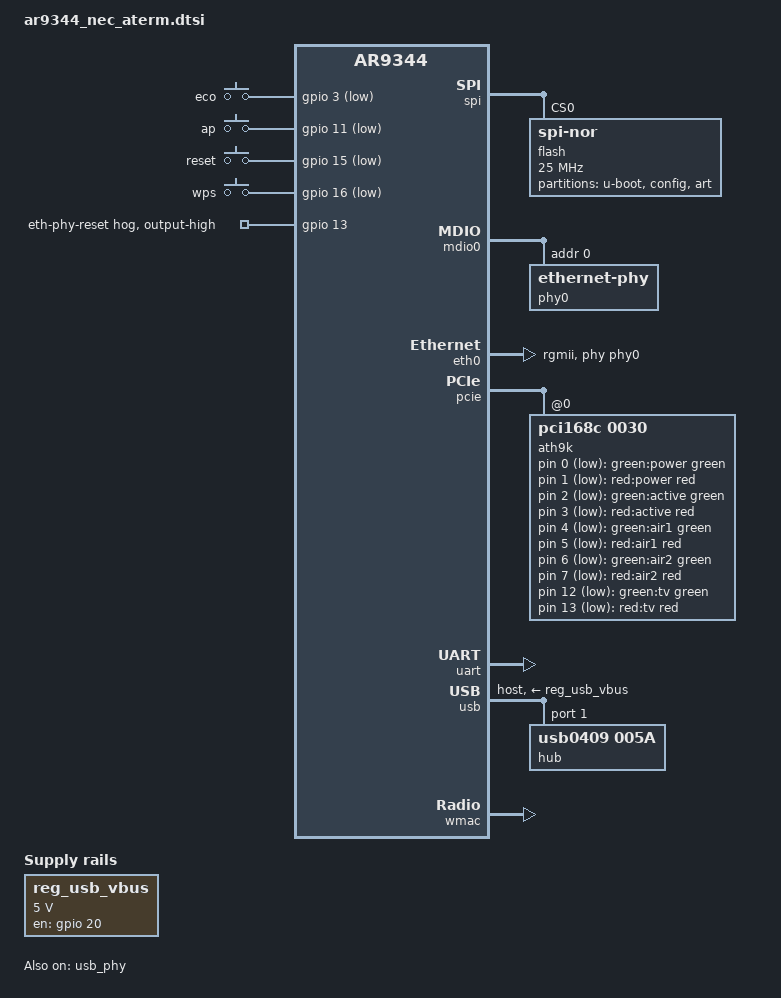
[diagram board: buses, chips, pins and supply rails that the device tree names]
// SPDX-License-Identifier: GPL-2.0-or-later OR MIT

#include <dt-bindings/gpio/gpio.h>
#include <dt-bindings/input/input.h>
#include <dt-bindings/leds/common.h>

#include "ar9344.dtsi"

/ {
	chosen {
		bootargs = "console=ttyS0,9600";
	};

	aliases {
		led-boot = &led_power_green;
		led-failsafe = &led_power_red;
		led-running = &led_power_green;
		led-upgrade = &led_power_green;
	};

	keys: keys {
		compatible = "gpio-keys";
		pinctrl-names = "default";
		pinctrl-0 = <&jtag_disable_pins>;

		eco {
			label = "eco";
			gpios = <&gpio 3 GPIO_ACTIVE_LOW>;
			linux,code = <BTN_0>;
			debounce-interval = <60>;
		};

		ap {
			label = "ap";
			gpios = <&gpio 11 GPIO_ACTIVE_LOW>;
			linux,code = <BTN_1>;
			linux,input-type = <EV_SW>;
			debounce-interval = <60>;
		};

		reset {
			label = "reset";
			gpios = <&gpio 15 GPIO_ACTIVE_LOW>;
			linux,code = <KEY_RESTART>;
			debounce-interval = <60>;
		};

		wps {
			label = "wps";
			gpios = <&gpio 16 GPIO_ACTIVE_LOW>;
			linux,code = <KEY_WPS_BUTTON>;
			debounce-interval = <60>;
		};
	};

	ath9k_leds: ath9k-leds {
		/* all LEDs are connected to ath9k chip (AR9382) */
		compatible = "gpio-leds";

		led_power_green: led-0 {
			label = "green:power";
			gpios = <&ath9k 0 GPIO_ACTIVE_LOW>;
			color = <LED_COLOR_ID_GREEN>;
			function = LED_FUNCTION_POWER;
			default-state = "on";
		};

		led_power_red: led-1 {
			label = "red:power";
			gpios = <&ath9k 1 GPIO_ACTIVE_LOW>;
			color = <LED_COLOR_ID_RED>;
			function = LED_FUNCTION_POWER;
		};

		led-2 {
			label = "green:active";
			gpios = <&ath9k 2 GPIO_ACTIVE_LOW>;
			color = <LED_COLOR_ID_GREEN>;
			function = LED_FUNCTION_ACTIVITY;
		};

		led-3 {
			label = "red:active";
			gpios = <&ath9k 3 GPIO_ACTIVE_LOW>;
			color = <LED_COLOR_ID_RED>;
			function = LED_FUNCTION_ACTIVITY;
		};

		led-4 {
			label = "green:air1";
			gpios = <&ath9k 4 GPIO_ACTIVE_LOW>;
			color = <LED_COLOR_ID_GREEN>;
			function = LED_FUNCTION_WLAN;
			function-enumerator = <1>;
			linux,default-trigger = "phy0tpt";
		};

		led-5 {
			label = "red:air1";
			gpios = <&ath9k 5 GPIO_ACTIVE_LOW>;
			color = <LED_COLOR_ID_RED>;
			function = LED_FUNCTION_WLAN;
			function-enumerator = <1>;
		};

		led-6 {
			label = "green:air2";
			gpios = <&ath9k 6 GPIO_ACTIVE_LOW>;
			color = <LED_COLOR_ID_GREEN>;
			function = LED_FUNCTION_WLAN;
			function-enumerator = <2>;
			linux,default-trigger = "phy1tpt";
		};

		led-7 {
			label = "red:air2";
			gpios = <&ath9k 7 GPIO_ACTIVE_LOW>;
			color = <LED_COLOR_ID_RED>;
			function = LED_FUNCTION_WLAN;
			function-enumerator = <2>;
		};

		led-8 {
			label = "green:tv";
			gpios = <&ath9k 12 GPIO_ACTIVE_LOW>;
			color = <LED_COLOR_ID_GREEN>;
			function = LED_FUNCTION_INDICATOR;
		};

		led-9 {
			label = "red:tv";
			gpios = <&ath9k 13 GPIO_ACTIVE_LOW>;
			color = <LED_COLOR_ID_RED>;
			function = LED_FUNCTION_INDICATOR;
		};
	};

	reg_usb_vbus: regulator {
		compatible = "regulator-fixed";

		regulator-name = "usb-vbus";
		regulator-min-microvolt = <5000000>;
		regulator-max-microvolt = <5000000>;

		gpio = <&gpio 20 GPIO_ACTIVE_HIGH>;
		enable-active-high;

		regulator-always-on;
	};
};

&ref {
	clock-frequency = <40000000>;
};

&spi {
	status = "okay";

	flash@0 {
		compatible = "jedec,spi-nor";
		reg = <0>;
		spi-max-frequency = <25000000>;

		partitions: partitions {
			compatible = "fixed-partitions";
			#address-cells = <1>;
			#size-cells = <1>;

			/*
			 * OEM bootloader cannot boot OpenWrt from the flash,
			 * need to replace the bootloader to u-boot at first
			 */
			partition@0 {
				label = "u-boot";
				reg = <0x000000 0x020000>;
			};

			/* no compatibility with u-boot */
			config: partition@20000 {
				label = "config";
				reg = <0x020000 0x010000>;
				read-only;

				compatible = "nvmem-cells";
				#address-cels = <1>;
				#size-cells = <1>;

				macaddr_config_6: macaddr@6 {
					reg = <0x6 0x6>;
				};
			};

			partition@30000 {
				label = "art";
				reg = <0x030000 0x010000>;
				read-only;

				compatible = "nvmem-cells";
				#address-cells = <1>;
				#size-cells = <1>;

				cal_art_1000: calibration@1000 {
					reg = <0x1000 0x440>;
				};

				cal_art_5000: calibration@5000 {
					reg = <0x5000 0x440>;
				};
			};
		};
	};
};

&mdio0 {
	status = "okay";

	phy0: ethernet-phy@0 {
		reg = <0>;

		qca,ar8327-initvals = <
			0x04 0x07a00000 /* PORT0 PAD MODE CTRL */
			0x50 0xcf37cf37 /* LED_CTRL0 */
			0x54 0x00000000 /* LED_CTRL1 */
			0x58 0x00000000 /* LED_CTRL2 */
			0x5c 0x03ffff00 /* LED_CTRL3 */
			0x7c 0x0000007e /* PORT0_STATUS */
		>;
	};
};

&eth0 {
	status = "okay";

	pll-data = <0x06000000 0x00000101 0x00001616>;

	phy-mode = "rgmii";
	phy-handle = <&phy0>;

	nvmem-cells = <&macaddr_config_6>;
	nvmem-cell-names = "mac-address";

	gmac-config {
		device = <&gmac>;

		rgmii-gmac0 = <1>;
	};
};

&gpio {
	eth-phy-reset {
		gpio-hog;
		gpios = <13 GPIO_ACTIVE_HIGH>;
		output-high;
	};
};

&pcie {
	status = "okay";

	ath9k: wifi@0,0 {
		compatible = "pci168c,0030";
		reg = <0x0000 0 0 0 0>;
		#gpio-cells = <2>;
		gpio-controller;

		nvmem-cells = <&cal_art_5000>;
		nvmem-cell-names = "calibration";

		usb-hub-reset {
			gpio-hog;
			gpios = <10 GPIO_ACTIVE_HIGH>;
			output-high;
		};
	};
};

&uart {
	status = "okay";
};

&usb_phy {
	status = "okay";
};

&usb {
	status = "okay";
	#address-cells = <1>;
	#size-cells = <0>;

	dr_mode = "host";
	vbus-supply = <&reg_usb_vbus>;

	hub@1 {
		compatible = "usb0409,005a";
		reg = <1>;
	};
};

&wmac {
	status = "okay";

	nvmem-cells = <&cal_art_1000>;
	nvmem-cell-names = "calibration";
};
